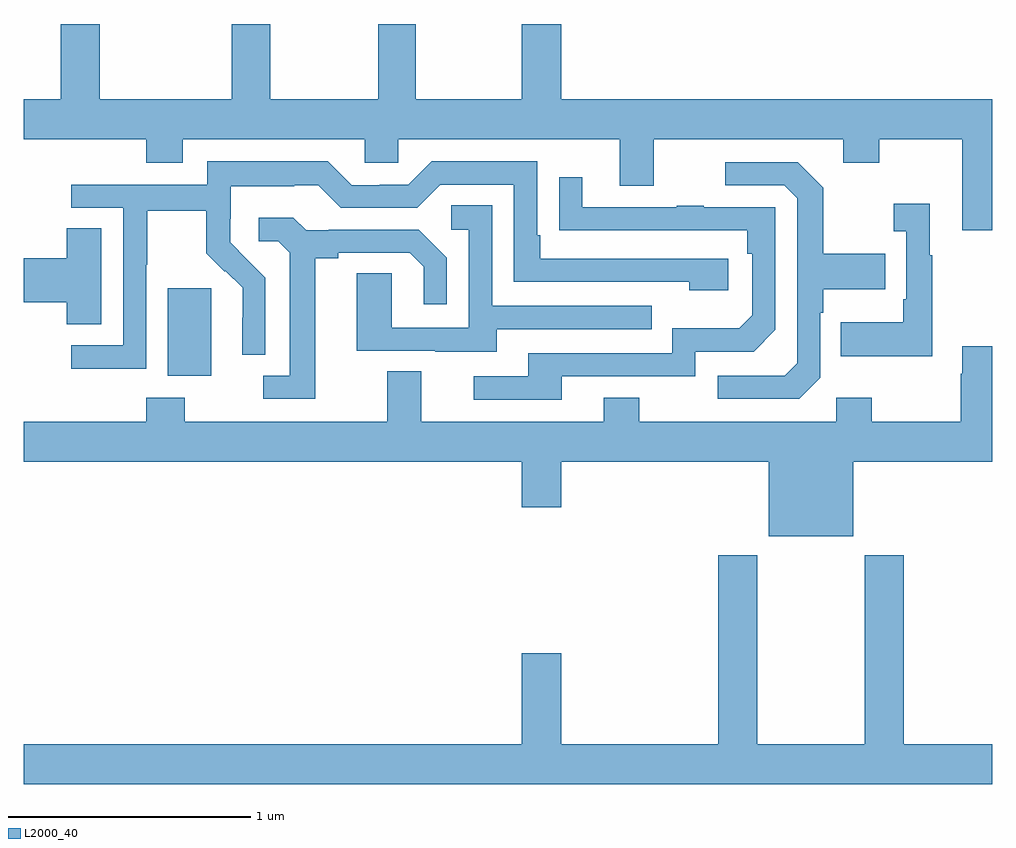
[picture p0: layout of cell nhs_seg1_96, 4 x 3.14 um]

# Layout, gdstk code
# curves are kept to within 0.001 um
import gdstk
lib = gdstk.Library(unit=1e-6, precision=1e-09)
def R(c, l, rs):  # rectangles x0, y0, x1, y1
    for r in rs: c.add(gdstk.rectangle(r[:2], r[2:], *l))
def P(c, l, *ps):  # polygons
    for p in ps: c.add(gdstk.Polygon(p, *l))
L2000_40 = (2000, 40)

nhs_seg1_96 = lib.new_cell('nhs_seg1_96')
R(nhs_seg1_96, L2000_40, [(115.595,558.746,115.774,559.107)])
P(nhs_seg1_96, L2000_40, [(119,559.888),(117.22,559.888),(117.22,560.199),(117.056,560.199),(117.056,559.888),(116.619,559.888),(116.619,560.199),(116.464,560.199),(116.464,559.888),(116.019,559.888),(116.019,560.199),(115.859,560.199),(115.859,559.888),(115.313,559.888),(115.313,560.199),(115.153,560.199),(115.153,559.888),(115,559.888),(115,559.724),(115.505,559.724),(115.505,559.625),(115.657,559.625),(115.657,559.724),(116.409,559.724),(116.409,559.626),(116.547,559.626),(116.547,559.724),(117.461,559.724),(117.461,559.53),(117.601,559.53),(117.601,559.724),(118.385,559.724),(118.385,559.625),(118.533,559.625),(118.533,559.724),(118.877,559.724),(118.877,559.347),(119,559.347)],
  [(115.506,559.204),(115.509,559.204),(115.509,559.428),(115.753,559.428),(115.753,559.253),(115.83,559.176),(115.833,559.179),(115.904,559.109),(115.904,558.986),(115.902,558.986),(115.902,558.832),(115.998,558.832),(115.998,559.15),(115.852,559.298),(115.852,559.395),(115.854,559.395),(115.854,559.529),(116.117,559.529),(116.117,559.533),(116.217,559.533),(116.31,559.44),(116.625,559.44),(116.721,559.536),(117.024,559.536),(117.024,559.134),(117.749,559.134),(117.749,559.1),(117.91,559.1),(117.91,559.23),(117.133,559.23),(117.133,559.327),(117.12,559.327),(117.12,559.632),(116.685,559.632),(116.589,559.536),(116.471,559.536),(116.471,559.533),(116.355,559.533),(116.255,559.633),(115.758,559.633),(115.758,559.536),(115.197,559.536),(115.197,559.44),(115.41,559.44),(115.41,558.873),(115.197,558.873),(115.197,558.775),(115.506,558.775)],
  [(118.29,558.738),(118.29,559.007),(118.303,559.007),(118.303,559.103),(118.559,559.103),(118.559,559.251),(118.303,559.251),(118.303,559.523),(118.197,559.629),(117.897,559.629),(117.897,559.533),(118.14,559.533),(118.194,559.479),(118.194,558.798),(118.143,558.747),(117.867,558.747),(117.867,558.651),(118.203,558.651)],
  [(117.223,558.744),(117.774,558.744),(117.774,558.846),(118.014,558.846),(118.104,558.936),(118.104,559.443),(117.809,559.443),(117.809,559.448),(117.697,559.448),(117.697,559.443),(117.307,559.443),(117.307,559.567),(117.211,559.567),(117.211,559.348),(117.988,559.347),(117.988,559.25),(118.008,559.25),(118.008,558.996),(117.955,558.943),(117.678,558.943),(117.678,558.84),(117.083,558.84),(117.083,558.744),(116.859,558.744),(116.859,558.648),(117.223,558.648)],
  [(118.753,559.243),(118.741,559.243),(118.741,559.456),(118.593,559.456),(118.593,559.343),(118.644,559.343),(118.644,559.063),(118.632,559.063),(118.632,558.967),(118.375,558.967),(118.375,558.827),(118.753,558.827)],
  [(116.953,558.939),(117.593,558.939),(117.593,559.035),(116.934,559.035),(116.934,559.451),(116.766,559.451),(116.766,559.35),(116.838,559.35),(116.838,558.945),(116.52,558.945),(116.52,559.169),(116.375,559.169),(116.375,558.849),(116.699,558.849),(116.699,558.845),(116.953,558.845)],
  [(116.203,559.232),(116.299,559.232),(116.299,559.254),(116.594,559.254),(116.651,559.197),(116.651,559.041),(116.748,559.041),(116.748,559.234),(116.632,559.35),(116.26,559.35),(116.26,559.347),(116.166,559.347),(116.114,559.399),(115.971,559.399),(115.971,559.302),(116.052,559.302),(116.099,559.255),(116.099,558.747),(115.989,558.747),(115.989,558.651),(116.203,558.651)],
  [(115.321,559.355),(115.178,559.355),(115.178,559.232),(115,559.232),(115,559.049),(115.178,559.049),(115.178,558.958),(115.321,558.958)],
  [(118.426,558.392),(119,558.392),(119,558.868),(118.877,558.868),(118.877,558.755),(118.87,558.755),(118.87,558.556),(118.503,558.556),(118.503,558.655),(118.356,558.655),(118.356,558.556),(117.543,558.556),(117.543,558.655),(117.395,558.655),(117.395,558.556),(116.641,558.556),(116.641,558.764),(116.501,558.764),(116.501,558.556),(115.665,558.556),(115.665,558.655),(115.505,558.655),(115.505,558.556),(115,558.556),(115,558.392),(117.056,558.392),(117.056,558.204),(117.22,558.204),(117.22,558.392),(118.076,558.392),(118.076,558.083),(118.426,558.083)],
  [(119,557.224),(118.634,557.224),(118.634,558.004),(118.474,558.004),(118.474,557.224),(118.029,557.224),(118.029,558.004),(117.869,558.004),(117.869,557.224),(117.22,557.224),(117.22,557.599),(117.056,557.599),(117.056,557.224),(115,557.224),(115,557.06),(119,557.06)])

lib.write_gds('nhs_seg1_96.gds')
